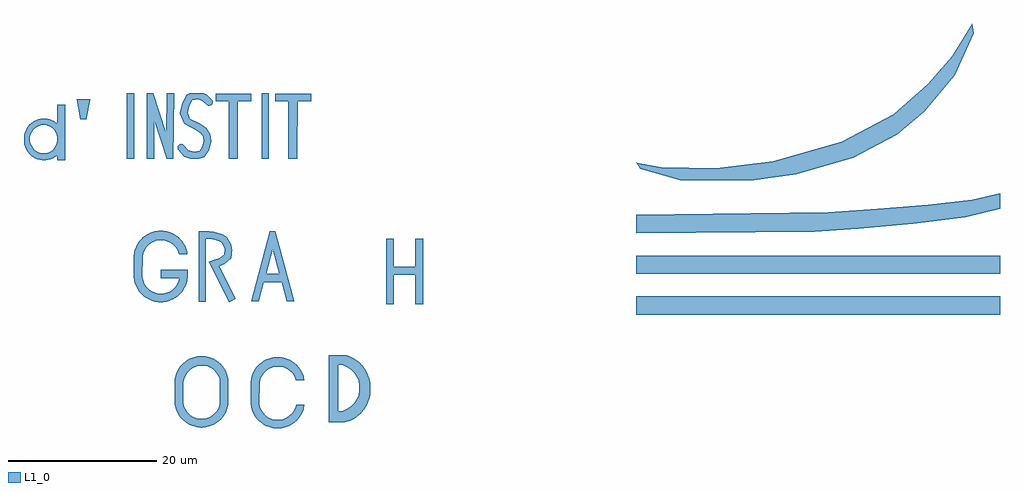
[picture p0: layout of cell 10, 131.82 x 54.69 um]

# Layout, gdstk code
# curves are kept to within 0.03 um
import gdstk
lib = gdstk.Library(unit=1e-6, precision=1e-09)
def R(c, l, rs):  # rectangles x0, y0, x1, y1
    for r in rs: c.add(gdstk.rectangle(r[:2], r[2:], *l))
def P(c, l, *ps):  # polygons
    for p in ps: c.add(gdstk.Polygon(p, *l))
L1_0 = (1, 0)

c_10 = lib.new_cell('10')
R(c_10, L1_0, [(67.268,-31.038,116.408,-28.581), (67.268,-25.524,116.408,-23.067), (-1.5,-9.966,-0.5,-1.16), (16.677,-9.966,17.677,-1.16)])
P(c_10, L1_0, [(2.95,-29.361),(2.049,-29.218),(1.212,-28.856),(0.491,-28.297),(-0.068,-27.576),(-0.36,-26.956),(-0.559,-26.066),(-0.573,-23.234),(-0.487,-22.555),(-0.275,-21.903),(0.055,-21.303),(0.491,-20.775),(1.212,-20.216),(1.832,-19.924),(2.495,-19.754),(3.179,-19.711),(3.634,-19.754),(4.297,-19.924),(4.917,-20.216),(5.471,-20.619),(5.94,-21.118),(6.307,-21.696),(6.559,-22.333),(6.67,-22.867),(5.535,-22.867),(5.34,-22.346),(5.072,-21.933),(4.728,-21.581),(4.321,-21.303),(3.869,-21.109),(3.387,-21.007),(2.894,-21.001),(2.41,-21.092),(1.953,-21.275),(1.54,-21.543),(1.188,-21.887),(0.91,-22.294),(0.716,-22.746),(0.614,-23.228),(0.582,-25.917),(0.673,-26.401),(0.856,-26.858),(1.124,-27.271),(1.468,-27.623),(1.875,-27.901),(2.327,-28.095),(2.809,-28.197),(3.302,-28.203),(3.786,-28.112),(4.243,-27.929),(4.656,-27.661),(5.008,-27.317),(5.286,-26.91),(5.48,-26.458),(5.554,-26.11),(3.093,-26.11),(3.093,-25.001),(6.719,-25.001),(6.719,-26.11),(6.682,-26.11),(6.489,-26.956),(6.307,-27.376),(5.94,-27.954),(5.471,-28.453),(4.917,-28.856),(4.297,-29.148),(3.634,-29.318)],
  [(15.261,-29.237),(17.764,-19.795),(18.544,-19.795),(19.199,-22.193),(18.162,-22.193),(17.281,-25.519),(19.07,-25.519),(18.162,-22.193),(19.199,-22.193),(21.122,-29.237),(20.086,-29.237),(19.379,-26.649),(16.982,-26.649),(16.296,-29.237)],
  [(18.737,-46.42),(17.836,-46.277),(16.999,-45.915),(16.278,-45.356),(15.719,-44.635),(15.427,-44.015),(15.228,-43.125),(15.214,-40.293),(15.3,-39.614),(15.512,-38.962),(15.842,-38.362),(16.278,-37.834),(16.999,-37.275),(17.619,-36.983),(18.282,-36.813),(18.966,-36.77),(19.421,-36.813),(20.084,-36.983),(20.704,-37.275),(21.258,-37.678),(21.727,-38.177),(22.094,-38.755),(22.346,-39.392),(22.457,-39.926),(21.322,-39.926),(21.127,-39.405),(20.859,-38.992),(20.515,-38.64),(20.108,-38.362),(19.656,-38.168),(19.174,-38.066),(18.681,-38.06),(18.197,-38.151),(17.74,-38.334),(17.327,-38.602),(16.975,-38.946),(16.697,-39.353),(16.503,-39.805),(16.401,-40.287),(16.369,-42.976),(16.46,-43.46),(16.643,-43.917),(16.911,-44.33),(17.255,-44.682),(17.662,-44.96),(18.114,-45.154),(18.596,-45.256),(19.089,-45.262),(19.573,-45.171),(20.03,-44.988),(20.443,-44.72),(20.795,-44.376),(21.073,-43.969),(21.267,-43.517),(21.333,-43.206),(22.464,-43.206),(22.346,-43.798),(22.094,-44.435),(21.727,-45.013),(21.258,-45.512),(20.704,-45.915),(20.084,-46.207),(19.421,-46.377)],
  [(25.814,-45.593),(25.746,-45.575),(25.746,-36.517),(28.059,-36.517),(28.658,-36.726),(29.163,-36.983),(29.631,-37.301),(30.16,-37.786),(27.061,-37.786),(27.061,-44.116),(27.706,-43.997),(28.27,-43.763),(28.778,-43.424),(29.21,-42.992),(29.549,-42.484),(29.783,-41.92),(29.902,-41.321),(29.902,-40.581),(29.783,-39.982),(29.549,-39.418),(29.21,-38.91),(28.778,-38.478),(28.27,-38.139),(27.706,-37.905),(27.107,-37.786),(30.16,-37.786),(30.597,-38.33),(30.886,-38.817),(31.111,-39.337),(31.269,-39.881),(31.375,-40.723),(31.357,-41.633),(31.269,-42.193),(31.111,-42.737),(30.886,-43.257),(30.431,-43.973),(29.85,-44.592),(29.163,-45.091),(28.658,-45.348),(27.92,-45.593)],
  [(33.513,-29.65),(33.52,-20.81),(34.52,-20.81),(34.517,-24.546),(37.44,-24.546),(37.44,-20.81),(38.493,-20.81),(38.493,-29.65),(37.44,-29.65),(37.44,-25.651),(34.516,-25.651),(34.513,-29.65)],
  [(8.459,-46.289),(7.558,-46.146),(6.721,-45.784),(6,-45.225),(5.441,-44.504),(5.149,-43.884),(4.95,-42.994),(4.936,-40.162),(5.022,-39.483),(5.234,-38.831),(5.564,-38.231),(6,-37.703),(6.721,-37.144),(7.341,-36.852),(8.004,-36.682),(8.688,-36.639),(9.589,-36.782),(10.226,-37.034),(10.804,-37.401),(11.352,-37.929),(8.403,-37.929),(7.919,-38.02),(7.462,-38.203),(7.049,-38.471),(6.697,-38.815),(6.419,-39.222),(6.225,-39.674),(6.123,-40.156),(6.091,-42.845),(6.182,-43.329),(6.365,-43.786),(6.633,-44.199),(6.977,-44.551),(7.384,-44.829),(7.836,-45.023),(8.318,-45.125),(8.811,-45.131),(9.295,-45.04),(9.752,-44.857),(10.165,-44.589),(10.517,-44.245),(10.795,-43.838),(10.989,-43.386),(11.049,-43.103),(11.043,-39.79),(10.849,-39.274),(10.581,-38.861),(10.237,-38.509),(9.83,-38.231),(9.378,-38.037),(8.896,-37.935),(8.403,-37.929),(11.352,-37.929),(11.583,-38.231),(11.998,-39.044),(12.173,-39.748),(12.173,-43.182),(12.068,-43.667),(11.816,-44.304),(11.449,-44.882),(10.98,-45.381),(10.426,-45.784),(9.806,-46.076),(9.143,-46.246)],
  [(67.268,-20.041),(67.268,-17.584),(93.222,-17.226),(99.93,-16.76),(106.727,-16.173),(112.659,-15.496),(116.408,-14.639),(116.408,-16.77),(111.684,-17.925),(104.689,-18.764),(97.285,-19.431),(91.378,-19.873)],
  [(73.246,-12.916),(67.795,-11.375),(67.283,-10.448),(67.283,-10.551),(70.677,-11.168),(78.079,-11.27),(85.795,-10.347),(95.047,-7.673),(102.042,-3.969),(106.669,0.043),(109.96,3.848),(112.636,8.271),(112.839,6.933),(110.27,1.275),(106.258,-3.558),(102.453,-6.746),(96.591,-9.831),(88.88,-12.095),(83.119,-12.916)],
  [(-10.891,-10.191),(-10.891,-9.493),(-11.184,-9.723),(-11.63,-9.969),(-12.114,-10.126),(-12.619,-10.19),(-13.128,-10.159),(-13.459,-10.084),(-13.933,-9.897),(-14.362,-9.623),(-14.618,-9.399),(-14.942,-9.007),(-15.25,-8.402),(-15.398,-7.739),(-15.378,-6.855),(-15.303,-6.524),(-15.116,-6.05),(-14.734,-5.489),(-14.226,-5.041),(-13.621,-4.732),(-13.294,-4.637),(-12.789,-4.574),(-12.114,-4.637),(-11.475,-4.868),(-10.891,-5.272),(-10.891,-2.723),(-9.86,-2.723),(-9.86,-5.432),(-12.926,-5.432),(-13.286,-5.503),(-13.624,-5.643),(-13.929,-5.847),(-14.188,-6.106),(-14.391,-6.411),(-14.532,-6.749),(-14.604,-7.108),(-14.604,-7.552),(-14.532,-7.912),(-14.391,-8.251),(-14.188,-8.555),(-13.929,-8.815),(-13.624,-9.017),(-13.286,-9.158),(-12.926,-9.23),(-12.56,-9.23),(-12.201,-9.158),(-11.863,-9.017),(-11.558,-8.815),(-11.299,-8.555),(-11.095,-8.251),(-10.954,-7.912),(-10.891,-7.588),(-10.891,-7.072),(-10.954,-6.749),(-11.095,-6.411),(-11.299,-6.106),(-11.558,-5.847),(-11.863,-5.643),(-12.201,-5.503),(-12.56,-5.432),(-9.86,-5.432),(-9.86,-10.191)],
  [(-5.798,-5.074),(-5.799,-5.073),(-5.734,-5.074)],
  [(-7,-4.703),(-7.835,-4.684),(-8.301,-1.98),(-6.452,-1.98)],
  [(1.169,-9.966),(1.146,-1.16),(2.037,-1.16),(3.785,-6.544),(3.858,-1.16),(4.858,-1.16),(4.738,-9.966),(3.845,-9.966),(2.156,-4.764),(2.171,-9.966)],
  [(12.23,-9.966),(12.23,-2.211),(10.464,-2.211),(10.464,-1.211),(15.284,-1.211),(15.284,-2.211),(13.464,-2.211),(13.432,-9.017),(13.433,-9.017),(13.433,-9.966)],
  [(7.021,-9.966),(6.209,-9.747),(5.363,-8.686),(5.334,-8.396),(5.409,-8.215),(5.548,-8.076),(5.729,-8.001),(6.019,-8.03),(6.182,-8.139),(6.779,-8.865),(7.573,-9.08),(8.331,-8.895),(8.693,-8.353),(8.858,-7.598),(8.793,-7.015),(8.48,-6.536),(7.751,-6.058),(6.215,-5.29),(5.653,-3.867),(5.963,-2.492),(6.56,-1.365),(6.816,-1.2),(6.999,-1.16),(8.842,-1.16),(9.291,-1.339),(9.976,-1.99),(10.095,-2.257),(10.08,-2.452),(9.992,-2.628),(9.754,-2.796),(9.463,-2.803),(9.287,-2.715),(8.741,-2.197),(8.103,-1.942),(7.291,-2.12),(6.909,-2.842),(6.697,-3.787),(7.005,-4.566),(8.251,-5.19),(9.204,-5.814),(9.761,-6.669),(9.87,-7.652),(9.629,-8.751),(8.947,-9.775),(8.161,-9.966)],
  [(20.311,-9.966),(20.311,-2.211),(18.545,-2.211),(18.545,-1.211),(23.365,-1.211),(23.365,-2.211),(21.545,-2.211),(21.513,-9.017),(21.514,-9.017),(21.514,-9.966)])
c_10.add(gdstk.FlexPath([(8.666,-28.824),(8.666,-20.292),(9.599,-20.292),(10.133,-20.345),(10.532,-20.452),(11.146,-20.665),(11.519,-20.852),(11.732,-21.065),(11.892,-21.358),(12.132,-21.785),(12.186,-22.132),(12.212,-22.371),(12.186,-22.505),(12.159,-22.745),(12.106,-23.198),(11.839,-23.411),(11.359,-23.811),(10.932,-23.945),(10.639,-24.025),(10.266,-24.158),(12.532,-28.691)], 1, ends="round", simple_path=True, layer=1, datatype=0))  # L1_0

lib.write_gds('10.gds')
